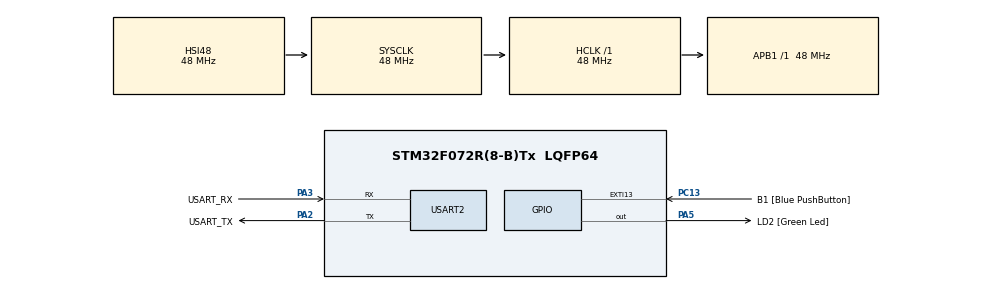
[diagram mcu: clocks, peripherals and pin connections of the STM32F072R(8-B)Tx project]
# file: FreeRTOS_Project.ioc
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FREERTOS.Tasks01=defaultTask,24,128,StartDefaultTask,Default,NULL,Dynamic,NULL,NULL
Mcu.Family=STM32F0
Mcu.Name=STM32F072R(8-B)Tx
Mcu.Package=LQFP64
PA13.GPIO_Label=TMS
PA13.Mode=Serial_Wire
PA13.Signal=SYS_SWDIO
PA14.GPIO_Label=TCK
PA14.Mode=Serial_Wire
PA14.Signal=SYS_SWCLK
PA2.GPIO_Label=USART_TX
PA2.GPIO_Mode=GPIO_MODE_AF_PP
PA2.GPIO_PuPd=GPIO_NOPULL
PA2.GPIO_Speed=GPIO_SPEED_FREQ_LOW
PA2.Mode=Asynchronous
PA2.Signal=USART2_TX
PA3.GPIO_Label=USART_RX
PA3.GPIO_Mode=GPIO_MODE_AF_PP
PA3.GPIO_PuPd=GPIO_NOPULL
PA3.GPIO_Speed=GPIO_SPEED_FREQ_LOW
PA3.Mode=Asynchronous
PA3.Signal=USART2_RX
PA5.GPIO_Label=LD2 [Green Led]
PA5.GPIO_Mode=GPIO_MODE_OUTPUT_PP
PA5.GPIO_PuPd=GPIO_NOPULL
PA5.GPIO_Speed=GPIO_SPEED_FREQ_LOW
PA5.Signal=GPIO_Output
PB5.Mode=SYS_WakeUp5
PB5.Signal=SYS_WKUP6
PC13.GPIO_Label=B1 [Blue PushButton]
PC13.GPIO_ModeDefaultEXTI=GPIO_MODE_IT_FALLING
PC13.Signal=GPXTI13
PC14-OSC32_IN.Mode=LSE-External-Oscillator
PC14-OSC32_IN.Signal=RCC_OSC32_IN
PC15-OSC32_OUT.Mode=LSE-External-Oscillator
PC15-OSC32_OUT.Signal=RCC_OSC32_OUT
PF0-OSC_IN.Mode=HSE-External-Clock-Source
PF0-OSC_IN.Signal=RCC_OSC_IN
PF1-OSC_OUT.Signal=RCC_OSC_OUT
ProjectManager.HeapSize=0x200
ProjectManager.StackSize=0x400
ProjectManager.TargetToolchain=STM32CubeIDE
RCC.AHBFreq_Value=48000000
RCC.APB1Freq_Value=48000000
RCC.APB1TimFreq_Value=48000000
RCC.FLatency-AdvancedSettings=FLASH_LATENCY_1
RCC.HCLKFreq_Value=48000000
RCC.PLLDivider=RCC_PREDIV_DIV2
RCC.PLLMUL=RCC_PLL_MUL12
RCC.PREFETCH_ENABLE-AdvancedSettings=1
RCC.SYSCLKFreq_VALUE=48000000
RCC.SYSCLKSource=RCC_SYSCLKSOURCE_HSI48
USART2.VirtualMode=VM_ASYNC
USART2.VirtualMode-Asynchronous=VM_ASYNC
VP_FREERTOS_VS_CMSIS_V2.Mode=CMSIS_V2
board=NUCLEO-F072RB

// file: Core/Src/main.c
/* USER CODE BEGIN Header */
/**
  ******************************************************************************
  * @file           : main.c
  * @brief          : Main program body
  ******************************************************************************
  * @attention
  *
  * Copyright (c) 2025 STMicroelectronics.
  * All rights reserved.
  *
  * This software is licensed under terms that can be found in the LICENSE file
  * in the root directory of this software component.
  * If no LICENSE file comes with this software, it is provided AS-IS.
  *
  ******************************************************************************
  */
/* USER CODE END Header */
#include "main.h"
#include "cmsis_os.h"
#include "FreeRTOS.h"
#include "task.h"

UART_HandleTypeDef huart2;

/* Definitions for defaultTask */
osThreadId_t defaultTaskHandle;
const osThreadAttr_t defaultTask_attributes = {
  .name = "defaultTask",
  .stack_size = 128 * 4,
  .priority = (osPriority_t) osPriorityNormal,
};

void SystemClock_Config(void);
static void MX_GPIO_Init(void);
static void MX_USART2_UART_Init(void);
void StartDefaultTask(void *argument);

/* USER CODE BEGIN 0 */
// Forward declarations of tasks
static void led_one_handler(void *param);
static void led_two_handler(void *param);
static void led_three_handler(void *param);

// Task handles
TaskHandle_t task1_handle;
TaskHandle_t task2_handle;
TaskHandle_t task3_handle;

/* USER CODE END 0 */

int main(void)
{

  /* MCU Configuration--------------------------------------------------------*/

  /* Reset of all peripherals, Initializes the Flash interface and the Systick. */
  HAL_Init();

  /* Configure the system clock */
  SystemClock_Config();

  /* Initialize all configured peripherals */
  MX_GPIO_Init();
  MX_USART2_UART_Init();
  /* USER CODE BEGIN 2 */
  BaseType_t status;
  status = xTaskCreate(led_one_handler,"LED one task",200,NULL,2,&task1_handle);
  configASSERT(status == pdPASS);

  status = xTaskCreate(led_two_handler,"LED two task",200,NULL,2,&task2_handle);
  configASSERT(status == pdPASS);

  status = xTaskCreate(led_three_handler,"LED three task",200,NULL,2,&task3_handle);
  configASSERT(status == pdPASS);

  /* USER CODE END 2 */

  /* Init scheduler */
  osKernelInitialize();

  /* Create the thread(s) */
  /* creation of defaultTask */
  defaultTaskHandle = osThreadNew(StartDefaultTask, NULL, &defaultTask_attributes);

  /* Start scheduler */
  osKernelStart();

  /* We should never get here as control is now taken by the scheduler */

  /* Infinite loop */
  while (1)
  {

  }
}

void SystemClock_Config(void)
{
  RCC_OscInitTypeDef RCC_OscInitStruct = {0};
  RCC_ClkInitTypeDef RCC_ClkInitStruct = {0};
  RCC_PeriphCLKInitTypeDef PeriphClkInit = {0};

  /** Initializes the RCC Oscillators according to the specified parameters
  * in the RCC_OscInitTypeDef structure.
  */
  RCC_OscInitStruct.OscillatorType = RCC_OSCILLATORTYPE_HSI48;
  RCC_OscInitStruct.HSI48State = RCC_HSI48_ON;
  RCC_OscInitStruct.PLL.PLLState = RCC_PLL_NONE;
  if (HAL_RCC_OscConfig(&RCC_OscInitStruct) != HAL_OK)
  {
    Error_Handler();
  }

  /** Initializes the CPU, AHB and APB buses clocks
  */
  RCC_ClkInitStruct.ClockType = RCC_CLOCKTYPE_HCLK|RCC_CLOCKTYPE_SYSCLK
                              |RCC_CLOCKTYPE_PCLK1;
  RCC_ClkInitStruct.SYSCLKSource = RCC_SYSCLKSOURCE_HSI48;
  RCC_ClkInitStruct.AHBCLKDivider = RCC_SYSCLK_DIV1;
  RCC_ClkInitStruct.APB1CLKDivider = RCC_HCLK_DIV1;

  if (HAL_RCC_ClockConfig(&RCC_ClkInitStruct, FLASH_LATENCY_1) != HAL_OK)
  {
    Error_Handler();
  }
  PeriphClkInit.PeriphClockSelection = RCC_PERIPHCLK_USART2;
  PeriphClkInit.Usart2ClockSelection = RCC_USART2CLKSOURCE_PCLK1;
  if (HAL_RCCEx_PeriphCLKConfig(&PeriphClkInit) != HAL_OK)
  {
    Error_Handler();
  }
}

static void MX_USART2_UART_Init(void)
{

  huart2.Instance = USART2;
  huart2.Init.BaudRate = 38400;
  huart2.Init.WordLength = UART_WORDLENGTH_8B;
  huart2.Init.StopBits = UART_STOPBITS_1;
  huart2.Init.Parity = UART_PARITY_NONE;
  huart2.Init.Mode = UART_MODE_TX_RX;
  huart2.Init.HwFlowCtl = UART_HWCONTROL_NONE;
  huart2.Init.OverSampling = UART_OVERSAMPLING_16;
  huart2.Init.OneBitSampling = UART_ONE_BIT_SAMPLE_DISABLE;
  huart2.AdvancedInit.AdvFeatureInit = UART_ADVFEATURE_NO_INIT;
  if (HAL_UART_Init(&huart2) != HAL_OK)
  {
    Error_Handler();
  }

}

static void MX_GPIO_Init(void)
{
  GPIO_InitTypeDef GPIO_InitStruct = {0};

  /* GPIO Ports Clock Enable */
  __HAL_RCC_GPIOC_CLK_ENABLE();
  __HAL_RCC_GPIOF_CLK_ENABLE();
  __HAL_RCC_GPIOA_CLK_ENABLE();
  __HAL_RCC_GPIOB_CLK_ENABLE();

  /*Configure GPIO pin Output Level */
  HAL_GPIO_WritePin(LD2_GPIO_Port, LD2_Pin, GPIO_PIN_RESET);

  /*Configure GPIO pin : B1_Pin */
  GPIO_InitStruct.Pin = B1_Pin;
  GPIO_InitStruct.Mode = GPIO_MODE_IT_FALLING;
  GPIO_InitStruct.Pull = GPIO_NOPULL;
  HAL_GPIO_Init(B1_GPIO_Port, &GPIO_InitStruct);

  /*Configure GPIO pin : LD2_Pin */
  GPIO_InitStruct.Pin = LD2_Pin;
  GPIO_InitStruct.Mode = GPIO_MODE_OUTPUT_PP;
  GPIO_InitStruct.Pull = GPIO_NOPULL;
  GPIO_InitStruct.Speed = GPIO_SPEED_FREQ_LOW;
  HAL_GPIO_Init(LD2_GPIO_Port, &GPIO_InitStruct);

}

/* USER CODE BEGIN 4 */

// Toggaling first led
#define PORT_A GPIOA
#define LED_ONE GPIO_PIN_5
static void led_one_handler(void *param)
{
	while(1)
	{
		HAL_GPIO_TogglePin(PORT_A,LED_ONE);
		HAL_Delay(1000);
	}
}

// Toggaling second led
#define LED_TWO GPIO_PIN_9
static void led_two_handler(void *param)
{
	while(1)
	{
//		HAL_GPIO_TogglePin(PORT_A,LED_TWO);
//		HAL_Delay(500);
	}
}

// Toggaling third led
static void led_three_handler(void *param)
{
	while(1)
	{

	}
}

/* USER CODE END 4 */

void StartDefaultTask(void *argument)
{
  for(;;)
  {
    osDelay(1);
  }
}

void Error_Handler(void)
{
  __disable_irq();
  while (1)
  {
  }
}
